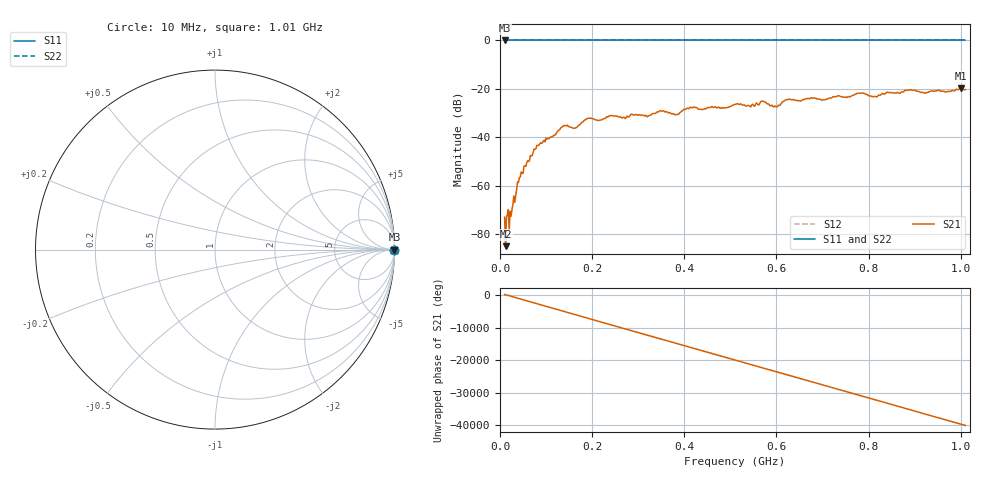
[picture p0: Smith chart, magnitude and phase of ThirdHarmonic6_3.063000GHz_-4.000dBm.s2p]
! 8/17/2025 8:55:48 AM
! C:\ANRITSUVNA\TEMP\TEMP.S2P
! CHANNEL.1
! TR.MEASUREMENT
! RAW.DATA
! RF.CORRECTION.OFF
! AVERAGING.OFF
! IF.BANDWIDTH: 5KHZ
! SWEEPTYPE:  FREQ.SWEEP(Linear)
! Reference Plane Port Info
! PORT:  PORT1  PORT2
! DISTANCE:  0  m  0  m
! TIME:  0  s  0  s
! PHASE.OFFSET:  0  deg.  0  deg.
! LOSS:  0  dB  0  dB
! REF.LOSS:  0  dB  0  dB
! REF.FREQ:  0  Hz  0  Hz
! Power Info
! POWER:  -20  dBm  -20  dBm
! EFF.POWER:  -20  dBm  -20  dBm
! SOURCE.ATTEN:  0  dB  0  dB
! TEST.ATTEN:  0  dB  0  dB
# GHZ S RI R 50.0
! FREQ.GHZ  S11RE  S11IM  S21RE  S21IM  S12RE  S12IM  S22RE  S22IM
!; PortSelection: Port_12
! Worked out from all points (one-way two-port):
!   501 points, 10 MHz to 1.01 GHz, reference 50 ohm
!   highest |S21| = -19.65 dB at 1 GHz (marker M1); lowest = -84.8 dB at 12 MHz (marker M2)
!   lowest |S11| = 0.0 dB at 10 MHz (marker M3)
!   |S11| at or under -10 dB: nowhere
!   |S22| runs from 0.0 to 0.0 dB; largest |S21 - S12| = 1.1
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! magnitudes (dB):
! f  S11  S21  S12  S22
! 10 MHz  0.0  -72.9  0.0  0.0
! 12 MHz  0.0  -84.8  0.0  0.0
! 24 MHz  0.0  -72.4  0.0  0.0
! 42 MHz  0.0  -56.6  0.0  0.0
! 78 MHz  0.0  -44.7  0.0  0.0
! 136 MHz  0.0  -35.6  0.0  0.0
! 162 MHz  0.0  -36.2  0.0  0.0
! 178 MHz  0.0  -33.7  0.0  0.0
! 192 MHz  0.0  -32.1  0.0  0.0
! 344 MHz  0.0  -29.5  0.0  0.0
! 384 MHz  0.0  -30.5  0.0  0.0
! 416 MHz  0.0  -27.8  0.0  0.0
! 510 MHz  0.0  -26.4  0.0  0.0
! 570 MHz  0.0  -25.0  0.0  0.0
! 598 MHz  0.0  -27.2  0.0  0.0
! 624 MHz  0.0  -24.4  0.0  0.0
! 678 MHz  0.0  -23.8  0.0  0.0
! 784 MHz  0.0  -21.7  0.0  0.0
! 814 MHz  0.0  -23.0  0.0  0.0
! 844 MHz  0.0  -21.5  0.0  0.0
! 1 GHz  0.0  -19.7  0.0  0.0
! 1.01 GHz  0.0  -20.3  0.0  0.0
